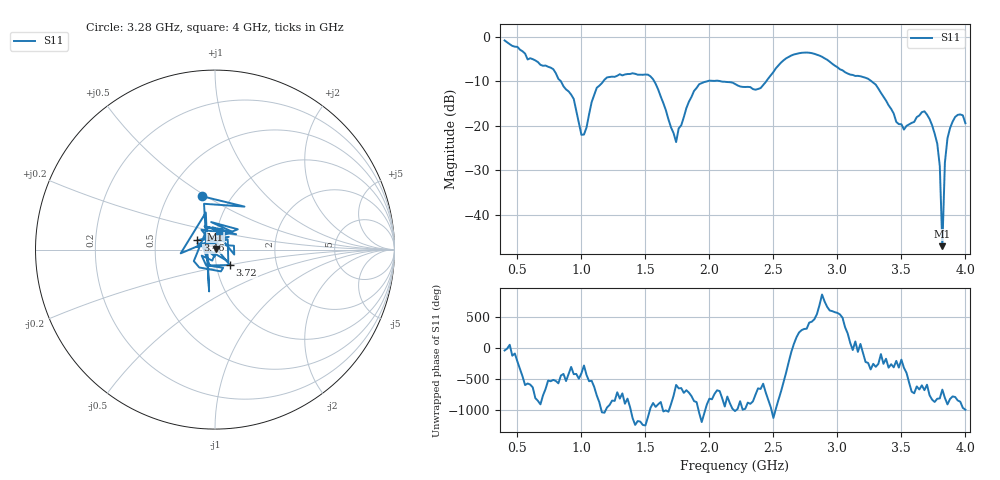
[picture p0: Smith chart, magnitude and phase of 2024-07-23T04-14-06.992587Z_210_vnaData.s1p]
!Created with skrf (http://scikit-rf.org).
# Hz S RI R 50.0
!freq ReS11 ImS11
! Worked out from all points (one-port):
!   181 points, 400 MHz to 4 GHz, reference 50 ohm
!   lowest |S11| = -47.1 dB at 3.82 GHz (marker M1), VSWR 1.01, Z = 50.3 + j0.311 ohm
!   |S11| at or under -10 dB: 1.569 GHz to 1.98 GHz (410.7 MHz wide, 23.1 % of centre); 2.092 GHz to 2.444 GHz (351.1 MHz wide, 15.5 % of centre); 3.268 GHz to end of sweep (the widest 3 of 4)
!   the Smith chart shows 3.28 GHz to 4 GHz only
!   S11 on the Smith chart (normalised r, x): 3.28 GHz: 0.73, +0.48; 3.46 GHz: 0.82, +0.09; 3.72 GHz: 1.16, -0.20; 4 GHz: 1.02, +0.22
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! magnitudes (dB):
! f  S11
! 400 MHz  -0.8
! 780 MHz  -7.2
! 860 MHz  -11.1
! 940 MHz  -14.0
! 1 GHz  -22.0
! 1.02 GHz  -22.0
! 1.12 GHz  -11.4
! 1.3 GHz  -8.4
! 1.54 GHz  -8.9
! 1.74 GHz  -23.7
! 1.76 GHz  -20.6
! 1.92 GHz  -10.6
! 2.2 GHz  -10.6
! 2.4 GHz  -11.5
! 2.66 GHz  -3.9
! 3.1 GHz  -8.5
! 3.28 GHz  -10.3
! 3.46 GHz  -19.1
! 3.56 GHz  -19.7
! 3.68 GHz  -16.7
! 3.72 GHz  -18.5
! 3.78 GHz  -24.0
! 3.8 GHz  -29.1
! 3.82 GHz  -47.1
! 3.84 GHz  -28.3
! 3.86 GHz  -22.8
! 3.92 GHz  -18.0
! 4 GHz  -19.4
